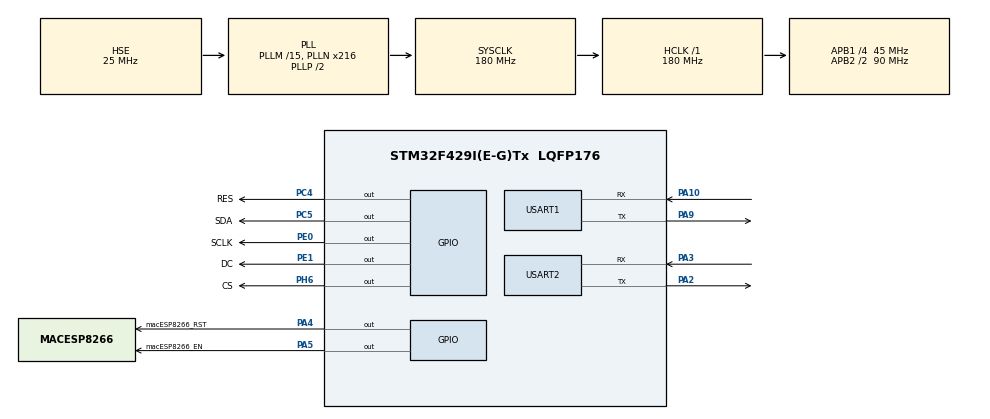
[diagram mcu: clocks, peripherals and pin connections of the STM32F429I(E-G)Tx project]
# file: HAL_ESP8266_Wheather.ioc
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Mcu.Family=STM32F4
Mcu.Name=STM32F429I(E-G)Tx
Mcu.Package=LQFP176
NVIC.PriorityGroup=NVIC_PRIORITYGROUP_4
NVIC.RTC_WKUP_IRQn=true\:0\:0\:false\:false\:true\:true\:true\:true
NVIC.USART1_IRQn=true\:0\:0\:false\:false\:true\:true\:true\:true
NVIC.USART2_IRQn=true\:0\:0\:false\:false\:true\:true\:true\:true
PA10.Mode=Asynchronous
PA10.Signal=USART1_RX
PA2.Mode=Asynchronous
PA2.Signal=USART2_TX
PA3.Mode=Asynchronous
PA3.Signal=USART2_RX
PA4.GPIO_Label=macESP8266_RST
PA4.Signal=GPIO_Output
PA5.GPIO_Label=macESP8266_EN
PA5.Signal=GPIO_Output
PA9.Mode=Asynchronous
PA9.Signal=USART1_TX
PC14/OSC32_IN.Mode=LSE-External-Oscillator
PC14/OSC32_IN.Signal=RCC_OSC32_IN
PC15/OSC32_OUT.Mode=LSE-External-Oscillator
PC15/OSC32_OUT.Signal=RCC_OSC32_OUT
PC4.GPIO_Label=RES
PC4.Signal=GPIO_Output
PC5.GPIO_Label=SDA
PC5.Signal=GPIO_Output
PE0.GPIO_Label=SCLK
PE0.Signal=GPIO_Output
PE1.GPIO_Label=DC
PE1.Signal=GPIO_Output
PH0/OSC_IN.Mode=HSE-External-Oscillator
PH0/OSC_IN.Signal=RCC_OSC_IN
PH1/OSC_OUT.Mode=HSE-External-Oscillator
PH1/OSC_OUT.Signal=RCC_OSC_OUT
PH6.GPIO_Label=CS
PH6.Signal=GPIO_Output
ProjectManager.HeapSize=0x200
ProjectManager.StackSize=0x400
ProjectManager.TargetToolchain=Makefile
RCC.48MHZClocksFreq_Value=90000000
RCC.AHBFreq_Value=180000000
RCC.APB1CLKDivider=RCC_HCLK_DIV4
RCC.APB1Freq_Value=45000000
RCC.APB1TimFreq_Value=90000000
RCC.APB2CLKDivider=RCC_HCLK_DIV2
RCC.APB2Freq_Value=90000000
RCC.APB2TimFreq_Value=180000000
RCC.CortexFreq_Value=180000000
RCC.HCLKFreq_Value=180000000
RCC.HSE_VALUE=25000000
RCC.HSI_VALUE=16000000
RCC.PLLM=15
RCC.PLLN=216
RCC.PLLSourceVirtual=RCC_PLLSOURCE_HSE
RCC.RCC_RTC_Clock_Source=RCC_RTCCLKSOURCE_LSE
RCC.SYSCLKFreq_VALUE=180000000
RCC.SYSCLKSource=RCC_SYSCLKSOURCE_PLLCLK
RCC.VCOOutputFreq_Value=360000000
RTC.Date=6
RTC.Format=RTC_FORMAT_BIN
RTC.Hours=19
RTC.Minutes=25
RTC.Month=RTC_MONTH_JUNE
RTC.WakeUpClock=RTC_WAKEUPCLOCK_CK_SPRE_16BITS
RTC.WakeUpCounter=1
RTC.WeekDay=RTC_WEEKDAY_SATURDAY
RTC.Year=11
USART1.VirtualMode=VM_ASYNC
USART2.VirtualMode=VM_ASYNC
VP_RTC_VS_RTC_Activate.Mode=RTC_Enabled
VP_RTC_VS_RTC_Calendar.Mode=RTC_Calendar
VP_RTC_VS_RTC_WakeUp_intern.Mode=WakeUp
board=custom

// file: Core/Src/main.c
/* USER CODE BEGIN Header */
/**
  ******************************************************************************
  * @file           : main.c
  * @brief          : Main program body
  ******************************************************************************
  * @attention
  *
  * Copyright (c) 2022 STMicroelectronics.
  * All rights reserved.
  *
  * This software is licensed under terms that can be found in the LICENSE file
  * in the root directory of this software component.
  * If no LICENSE file comes with this software, it is provided AS-IS.
  *
  ******************************************************************************
  */
/* USER CODE END Header */
#include "main.h"
#include "rtc.h"
#include "usart.h"
#include "gpio.h"

/* USER CODE BEGIN Includes */
#include "bsp_esp8266_test.h"
#include "esp8266.h"
#include "key.h"
#include "SEEKFREE_18TFT.h"
/* USER CODE END Includes */

/* USER CODE BEGIN PTD */
extern bool updata_time_status;
extern bool updata_weather_status;
/* USER CODE END PTD */

void SystemClock_Config(void);

/* USER CODE BEGIN 0 */

void user_CheckRtcBkup(){
   HAL_RTCEx_BKUPWrite(&hrtc, RTC_BKP_DR1, 1);
}

/* USER CODE END 0 */

int main(void)
{

  /* MCU Configuration--------------------------------------------------------*/

  /* Reset of all peripherals, Initializes the Flash interface and the Systick. */
  HAL_Init();

  /* Configure the system clock */
  SystemClock_Config();

  /* Initialize all configured peripherals */
  MX_GPIO_Init();
  MX_USART1_UART_Init();
  MX_USART2_UART_Init();
  MX_RTC_Init();
  user_CheckRtcBkup();
  /* USER CODE BEGIN 2 */

  //初始化LCD
  lcd_init();

  lcd_clear(WHITE);
  //初始化按键
  KEY_Init();
  //初始化ESP8266
  ESP8266_Init();
  //ESP8266进行透传模式
  ESP8266_StaTcpClient_Unvarnish_ConfigTest();

  lcd_clear(WHITE);

  /* USER CODE END 2 */

  /* Infinite loop */
  while (1)
  {

    /* USER CODE BEGIN 3 */

    if (KEY_Scan(1) == KEY0_PRES) {
      //更新数据
      updata_weather();
      macESP8266_Usart(REQUEST_DATA);
      LCD_Fill(0,96,128,160,WHITE);
      updata_weather_status = true;
    }
    if (KEY_Scan(1) == KEY2_PRES) {
      //更新数据
      updata_time();
	    macESP8266_Usart(REQUEST_TIME);
      updata_time_status = true;
    }

    lcd_dispaly_rtc();
    ESP8266_CheckRecvDataTest();
  }
  /* USER CODE END 3 */
}

void SystemClock_Config(void)
{
  RCC_OscInitTypeDef RCC_OscInitStruct = {0};
  RCC_ClkInitTypeDef RCC_ClkInitStruct = {0};

  /** Configure the main internal regulator output voltage
  */
  __HAL_RCC_PWR_CLK_ENABLE();
  __HAL_PWR_VOLTAGESCALING_CONFIG(PWR_REGULATOR_VOLTAGE_SCALE1);

  /** Initializes the RCC Oscillators according to the specified parameters
  * in the RCC_OscInitTypeDef structure.
  */
  RCC_OscInitStruct.OscillatorType = RCC_OSCILLATORTYPE_HSE|RCC_OSCILLATORTYPE_LSE;
  RCC_OscInitStruct.HSEState = RCC_HSE_ON;
  RCC_OscInitStruct.LSEState = RCC_LSE_ON;
  RCC_OscInitStruct.PLL.PLLState = RCC_PLL_ON;
  RCC_OscInitStruct.PLL.PLLSource = RCC_PLLSOURCE_HSE;
  RCC_OscInitStruct.PLL.PLLM = 15;
  RCC_OscInitStruct.PLL.PLLN = 216;
  RCC_OscInitStruct.PLL.PLLP = RCC_PLLP_DIV2;
  RCC_OscInitStruct.PLL.PLLQ = 4;
  if (HAL_RCC_OscConfig(&RCC_OscInitStruct) != HAL_OK)
  {
    Error_Handler();
  }

  /** Activate the Over-Drive mode
  */
  if (HAL_PWREx_EnableOverDrive() != HAL_OK)
  {
    Error_Handler();
  }

  /** Initializes the CPU, AHB and APB buses clocks
  */
  RCC_ClkInitStruct.ClockType = RCC_CLOCKTYPE_HCLK|RCC_CLOCKTYPE_SYSCLK
                              |RCC_CLOCKTYPE_PCLK1|RCC_CLOCKTYPE_PCLK2;
  RCC_ClkInitStruct.SYSCLKSource = RCC_SYSCLKSOURCE_PLLCLK;
  RCC_ClkInitStruct.AHBCLKDivider = RCC_SYSCLK_DIV1;
  RCC_ClkInitStruct.APB1CLKDivider = RCC_HCLK_DIV4;
  RCC_ClkInitStruct.APB2CLKDivider = RCC_HCLK_DIV2;

  if (HAL_RCC_ClockConfig(&RCC_ClkInitStruct, FLASH_LATENCY_5) != HAL_OK)
  {
    Error_Handler();
  }
}

void Error_Handler(void)
{
  __disable_irq();
  while (1)
  {
  }
}
